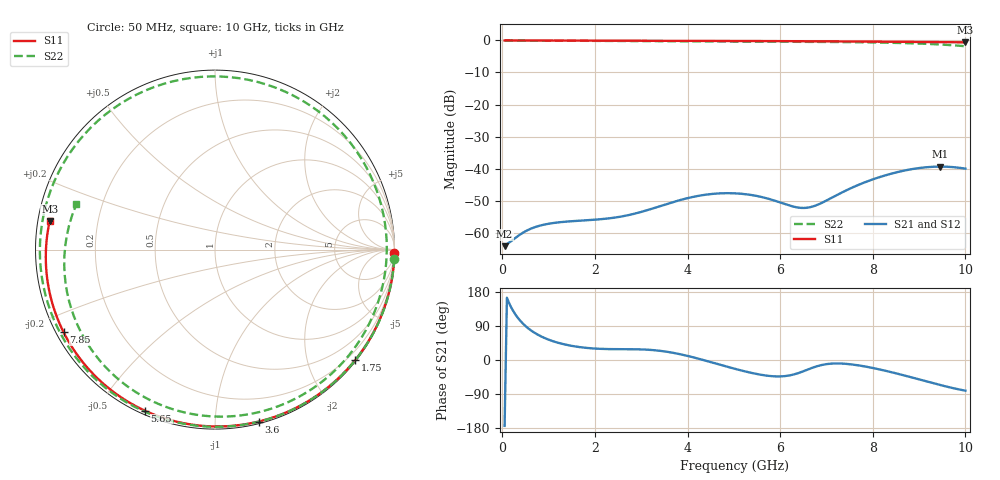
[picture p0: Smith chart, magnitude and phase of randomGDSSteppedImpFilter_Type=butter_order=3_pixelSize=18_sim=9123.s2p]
! freq	dB(S11)	phase(S11)	dB(S12)	phase(S12)
!  dB(S21)	phase(S21)	dB(S22)	phase(S22)
!S-par simulation data
#  GHz  S  DB  R 50
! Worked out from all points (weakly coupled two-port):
!   200 points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, 50 MHz to 10 GHz, reference 50 ohm
!   highest |S21| = -39.38 dB at 9.45 GHz (marker M1); lowest = -64.2 dB at 50 MHz (marker M2)
!   lowest |S11| = -0.6 dB at 10 GHz (marker M3), VSWR 29.61, Z = 1.7 + j4.24 ohm
!   |S11| at or under -10 dB: nowhere
!   |S22| runs from -1.8 to 0.0 dB; largest |S21 - S12| = 0
!   S11 on the Smith chart (normalised r, x): 50 MHz: open; 1.75 GHz: 0.03, -2.89; 3.6 GHz: 0.02, -1.29; 5.65 GHz: 0.02, -0.66; 7.85 GHz: 0.02, -0.26; 10 GHz: 0.03, +0.08
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0.05  -0.00 -1.1  -64.22 -173.9  -64.22 -173.9  -0.00 -2.9
0.5  -0.01 -11.1  -59.57 89.7  -59.57 89.7  -0.02 -28.6
0.95  -0.02 -21.0  -57.35 56.1  -57.35 56.1  -0.06 -54.0
1.35  -0.04 -29.6  -56.59 41.0  -56.59 41.0  -0.09 -76.2
1.75  -0.05 -38.2  -56.19 32.8  -56.19 32.8  -0.12 -98.3
2.2  -0.06 -47.6  -55.70 29.1  -55.70 29.1  -0.15 -123.1
2.65  -0.07 -56.9  -54.75 28.6  -54.75 28.6  -0.18 -148.1
3.05  -0.08 -64.9  -53.32 27.7  -53.32 27.7  -0.20 -170.8
3.4  -0.09 -71.9  -51.75 24.3  -51.75 24.3  -0.23 168.8
3.6  -0.10 -75.8  -50.84 20.8  -50.84 20.8  -0.24 156.8
4.35  -0.13 -90.0  -48.23 -0.4  -48.23 -0.4  -0.29 110.5
4.7  -0.14 -96.5  -47.73 -12.4  -47.73 -12.4  -0.31 88.3
5.05  -0.16 -102.8  -47.74 -24.2  -47.74 -24.2  -0.33 66.1
5.65  -0.19 -113.5  -49.05 -40.3  -49.05 -40.3  -0.35 29.2
6.15  -0.22 -122.2  -51.29 -41.8  -51.29 -41.8  -0.38 0.5
6.7  -0.25 -131.7  -51.85 -20.3  -51.85 -20.3  -0.42 -28.3
7.3  -0.30 -141.9  -47.71 -9.2  -47.71 -9.2  -0.49 -56.9
7.85  -0.35 -151.3  -44.16 -17.5  -44.16 -17.5  -0.59 -81.3
8.35  -0.39 -159.9  -41.78 -30.6  -41.78 -30.6  -0.71 -103.0
8.9  -0.45 -169.5  -40.04 -47.9  -40.04 -47.9  -0.92 -128.1
9.45  -0.52 -179.4  -39.38 -65.8  -39.38 -65.8  -1.25 -157.5
10  -0.59 170.3  -40.02 -81.0  -40.02 -81.0  -1.80 161.8
